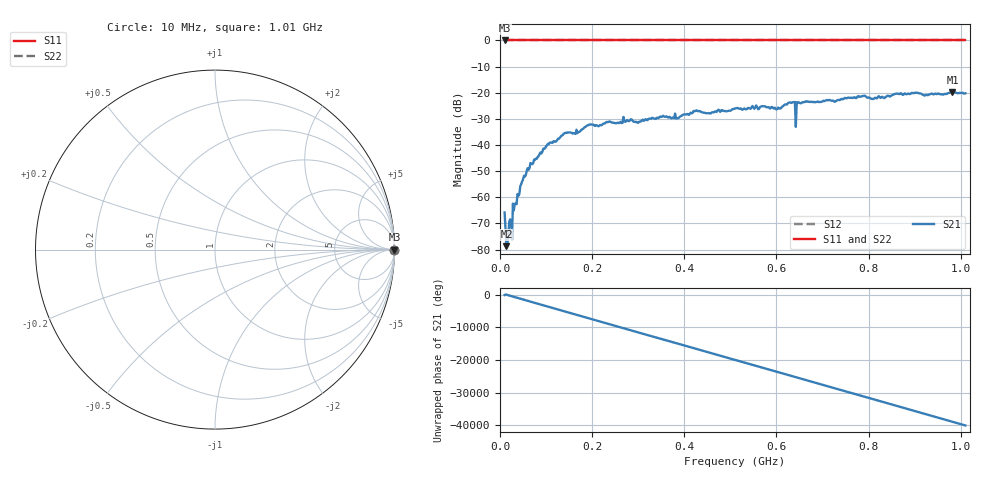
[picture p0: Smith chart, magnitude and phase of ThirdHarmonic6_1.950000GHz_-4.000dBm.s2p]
! 8/16/2025 11:28:42 PM
! C:\ANRITSUVNA\TEMP\TEMP.S2P
! CHANNEL.1
! TR.MEASUREMENT
! RAW.DATA
! RF.CORRECTION.OFF
! AVERAGING.OFF
! IF.BANDWIDTH: 5KHZ
! SWEEPTYPE:  FREQ.SWEEP(Linear)
! Reference Plane Port Info
! PORT:  PORT1  PORT2
! DISTANCE:  0  m  0  m
! TIME:  0  s  0  s
! PHASE.OFFSET:  0  deg.  0  deg.
! LOSS:  0  dB  0  dB
! REF.LOSS:  0  dB  0  dB
! REF.FREQ:  0  Hz  0  Hz
! Power Info
! POWER:  -20  dBm  -20  dBm
! EFF.POWER:  -20  dBm  -20  dBm
! SOURCE.ATTEN:  0  dB  0  dB
! TEST.ATTEN:  0  dB  0  dB
# GHZ S RI R 50.0
! FREQ.GHZ  S11RE  S11IM  S21RE  S21IM  S12RE  S12IM  S22RE  S22IM
!; PortSelection: Port_12
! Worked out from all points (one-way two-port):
!   501 points, 10 MHz to 1.01 GHz, reference 50 ohm
!   highest |S21| = -19.77 dB at 982 MHz (marker M1); lowest = -78.7 dB at 14 MHz (marker M2)
!   lowest |S11| = 0.0 dB at 10 MHz (marker M3)
!   |S11| at or under -10 dB: nowhere
!   |S22| runs from 0.0 to 0.0 dB; largest |S21 - S12| = 1.1
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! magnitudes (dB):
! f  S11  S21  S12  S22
! 10 MHz  0.0  -65.8  0.0  0.0
! 14 MHz  0.0  -78.7  0.0  0.0
! 16 MHz  0.0  -77.6  0.0  0.0
! 22 MHz  0.0  -68.4  0.0  0.0
! 32 MHz  0.0  -62.7  0.0  0.0
! 48 MHz  0.0  -53.9  0.0  0.0
! 70 MHz  0.0  -47.3  0.0  0.0
! 106 MHz  0.0  -39.6  0.0  0.0
! 142 MHz  0.0  -35.3  0.0  0.0
! 178 MHz  0.0  -34.0  0.0  0.0
! 196 MHz  0.0  -32.2  0.0  0.0
! 344 MHz  0.0  -29.7  0.0  0.0
! 510 MHz  0.0  -26.0  0.0  0.0
! 604 MHz  0.0  -25.7  0.0  0.0
! 636 MHz  0.0  -23.6  0.0  0.0
! 638 MHz  0.0  -23.6  0.0  0.0
! 646 MHz  0.0  -23.7  0.0  0.0
! 648 MHz  0.0  -23.6  0.0  0.0
! 678 MHz  0.0  -23.5  0.0  0.0
! 844 MHz  0.0  -21.3  0.0  0.0
! 982 MHz  0.0  -19.8  0.0  0.0
! 1.01 GHz  0.0  -20.2  0.0  0.0
